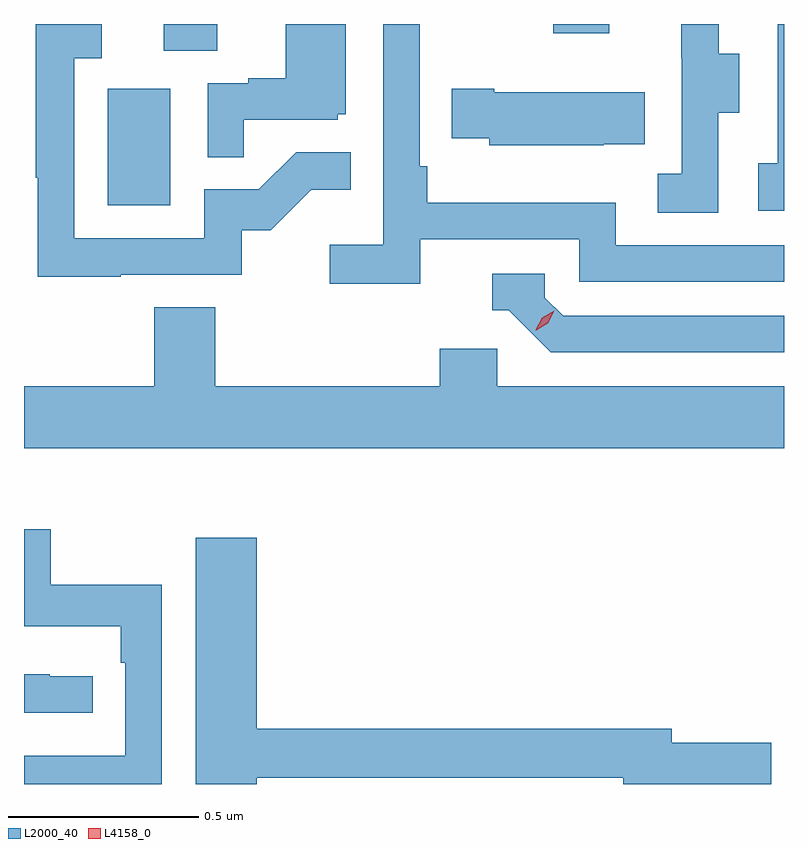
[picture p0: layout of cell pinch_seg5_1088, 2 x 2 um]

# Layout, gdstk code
import gdstk
lib = gdstk.Library(unit=1e-6, precision=1e-09)
def R(c, l, rs):  # rectangles x0, y0, x1, y1
    for r in rs: c.add(gdstk.rectangle(r[:2], r[2:], *l))
def P(c, l, *ps):  # polygons
    for p in ps: c.add(gdstk.Polygon(p, *l))
L2000_40 = (2000, 40)
L4158_0 = (4158, 0)

pinch_seg5_1088 = lib.new_cell('pinch_seg5_1088')
R(pinch_seg5_1088, L2000_40, [(837.536,861.396,837.7,861.703), (837.683,861.802,837.823,861.873), (838.708,861.849,838.855,861.873)])
P(pinch_seg5_1088, L2000_40, [(837.569,861.213),(837.888,861.213),(837.888,861.33),(837.964,861.33),(838.071,861.437),(838.175,861.437),(838.175,861.536),(838.031,861.536),(837.933,861.438),(837.789,861.438),(837.789,861.309),(837.447,861.309),(837.447,861.783),(837.52,861.783),(837.52,861.873),(837.346,861.873),(837.346,861.469),(837.351,861.469),(837.351,861.208),(837.569,861.208)],
  [(839.142,861.64),(839.197,861.64),(839.197,861.795),(839.143,861.795),(839.143,861.873),(839.045,861.873),(839.045,861.783),(839.046,861.783),(839.046,861.479),(838.983,861.479),(838.983,861.376),(839.142,861.376)],
  [(838.358,861.306),(838.776,861.306),(838.776,861.195),(839.315,861.195),(839.315,861.291),(838.872,861.291),(838.872,861.403),(838.376,861.403),(838.376,861.499),(838.356,861.499),(838.356,861.873),(838.26,861.873),(838.26,861.292),(838.119,861.292),(838.119,861.19),(838.358,861.19)],
  [(837.893,861.621),(838.14,861.621),(838.14,861.636),(838.162,861.636),(838.162,861.873),(838.004,861.873),(838.004,861.73),(837.905,861.73),(837.905,861.717),(837.798,861.717),(837.798,861.523),(837.893,861.523)],
  [(839.315,861.873),(839.298,861.873),(839.298,861.506),(839.247,861.506),(839.247,861.381),(839.315,861.381)],
  [(838.841,861.557),(838.949,861.557),(838.949,861.694),(838.552,861.694),(838.552,861.702),(838.441,861.702),(838.441,861.572),(838.539,861.572),(838.539,861.554),(838.841,861.554)],
  [(839.315,861.105),(838.734,861.105),(838.686,861.153),(838.686,861.216),(838.547,861.216),(838.547,861.12),(838.59,861.12),(838.701,861.009),(839.315,861.009)],
  [(839.315,860.92),(838.56,860.92),(838.56,861.018),(838.409,861.018),(838.409,860.92),(837.818,860.92),(837.818,861.128),(837.658,861.128),(837.658,860.92),(837.315,860.92),(837.315,860.756),(839.315,860.756)],
  [(837.678,860.398),(837.385,860.398),(837.385,860.544),(837.315,860.544),(837.315,860.288),(837.569,860.288),(837.569,860.192),(837.582,860.192),(837.582,859.947),(837.315,859.947),(837.315,859.873),(837.678,859.873)],
  [(837.928,859.89),(838.892,859.89),(838.892,859.873),(839.281,859.873),(839.281,859.982),(839.02,859.982),(839.02,860.018),(837.928,860.018),(837.928,860.521),(837.767,860.521),(837.767,859.873),(837.928,859.873)],
  [(837.496,860.157),(837.383,860.157),(837.383,860.162),(837.315,860.162),(837.315,860.061),(837.496,860.061)])
P(pinch_seg5_1088, L4158_0, [(838.662,861.067),(838.662,861.068),(838.679,861.1),(838.71,861.119),(838.71,861.119),(838.71,861.119),(838.693,861.086),(838.663,861.067)])

lib.write_gds('pinch_seg5_1088.gds')
